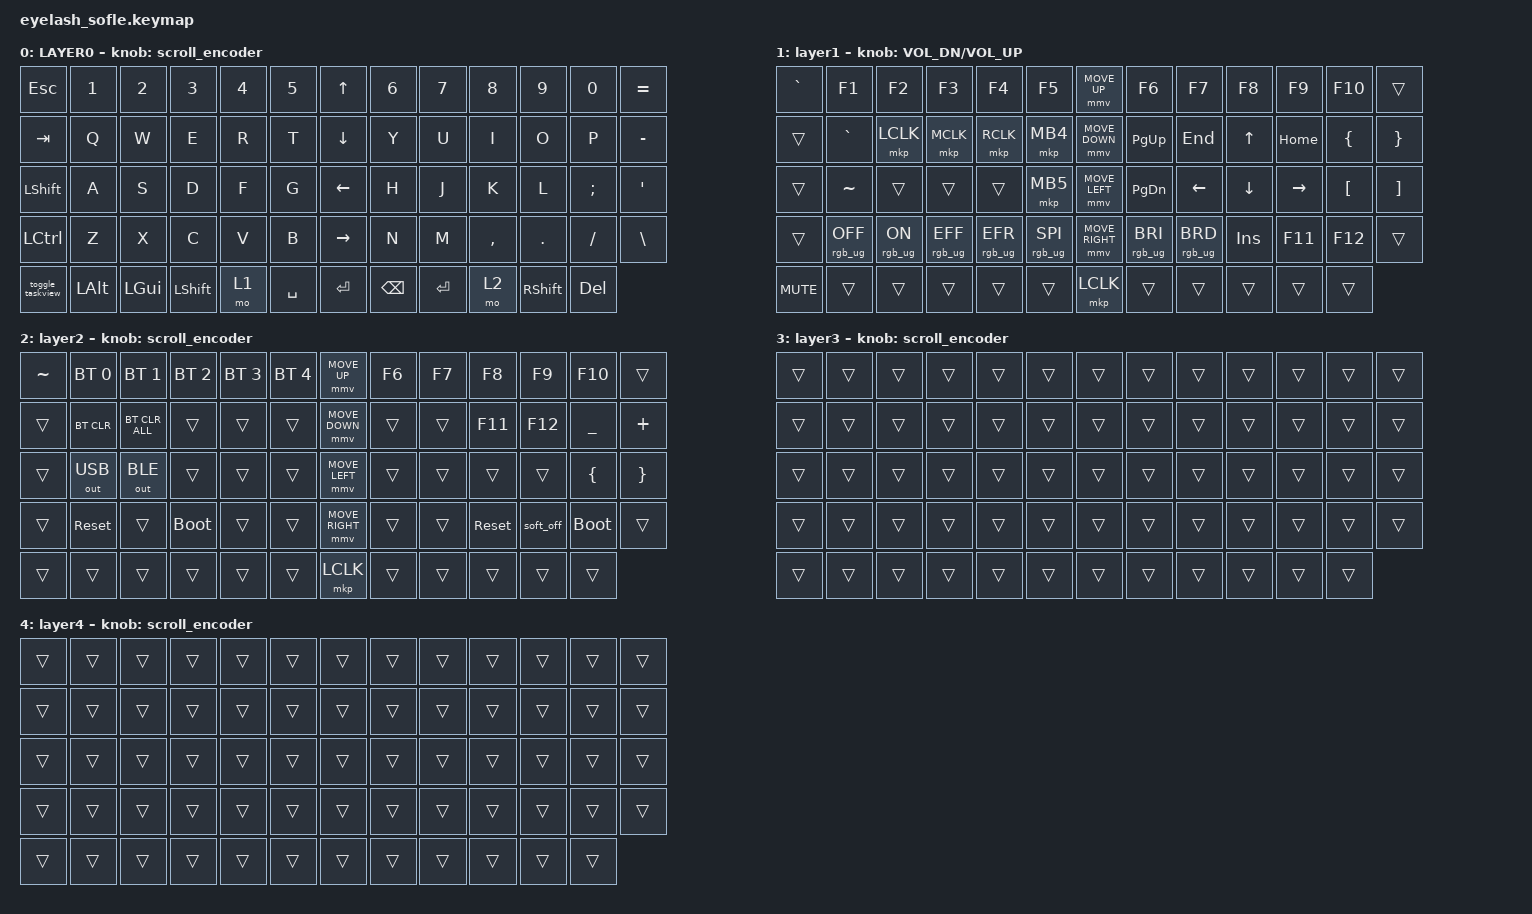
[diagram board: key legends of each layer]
#define ZMK_POINTING_DEFAULT_MOVE_VAL 1200  // 600
#define ZMK_POINTING_DEFAULT_SCRL_VAL 25   // 10

#include <input/processors.dtsi>
#include <zephyr/dt-bindings/input/input-event-codes.h>
#include <behaviors.dtsi>
#include <dt-bindings/zmk/bt.h>
#include <dt-bindings/zmk/keys.h>
#include <dt-bindings/zmk/outputs.h>
#include <dt-bindings/zmk/pointing.h>
#include <dt-bindings/zmk/rgb.h>

&mmv_input_listener { input-processors = <&zip_xy_scaler 2 1>; };

&msc_input_listener { input-processors = <&zip_scroll_scaler 2 1>; };

&msc {
    acceleration-exponent = <1>;      // 0
    time-to-max-speed-ms = <100>;       // 300
    delay-ms = <0>;                   // 0
};

&mmv {
    time-to-max-speed-ms = <500>;
    acceleration-exponent = <1>;
    trigger-period-ms = <16>;
};

&soft_off { hold-time-ms = <2000>; };

/ {
    behaviors {
        scroll_encoder: scroll_encoder {
            compatible = "zmk,behavior-sensor-rotate";
            #sensor-binding-cells = <0>;
            bindings = <&msc SCRL_DOWN>, <&msc SCRL_UP>;

            tap-ms = <100>;
        };

        toggle_taskview: toggle_taskview {
            compatible = "zmk,behavior-macro";
            label = "Taskview";
            #binding-cells = <0>;
            bindings =
                <&macro_press>,
                <&kp LGUI>,
                <&macro_tap>,
                <&kp TAB>,
                <&macro_release>,
                <&kp LGUI>;
        };
    };

    combos {
        compatible = "zmk,combos";

        softoff {
            bindings = <&soft_off>;
            key-positions = <14 28 40>;
        };

        caps {
            bindings = <&kp CAPS>;
            key-positions = <14 13>;
        };

        delete {
            bindings = <&kp DELETE>;
            key-positions = <11 12>;
        };
    };

    macros {
    };

    keymap {
        compatible = "zmk,keymap";

        layer0 {
            bindings = <
&kp ESC           &kp N1        &kp N2        &kp N3          &kp N4  &kp N5       &kp UP_ARROW     &kp N6         &kp N7     &kp N8     &kp N9           &kp N0      &kp EQUAL
&kp TAB           &kp Q         &kp W         &kp E           &kp R   &kp T        &kp DOWN_ARROW   &kp Y          &kp U      &kp I      &kp O            &kp P       &kp MINUS
&kp LSHIFT        &kp A         &kp S         &kp D           &kp F   &kp G        &kp LEFT_ARROW   &kp H          &kp J      &kp K      &kp L            &kp SEMI    &kp SQT
&kp LCTRL         &kp Z         &kp X         &kp C           &kp V   &kp B        &kp RIGHT_ARROW  &kp N          &kp M      &kp COMMA  &kp DOT          &kp FSLH    &kp BACKSLASH
&toggle_taskview  &kp LEFT_ALT  &kp LEFT_GUI  &kp LEFT_SHIFT  &mo 1   &kp SPACE    &kp ENTER        &kp BACKSPACE  &kp ENTER  &mo 2      &kp RIGHT_SHIFT  &kp DELETE
            >;

            sensor-bindings = <&scroll_encoder>;
            display-name = "LAYER0";
        };

        layer_1 {
            bindings = <
&kp GRAVE   &kp F1           &kp F2          &kp F3           &kp F4           &kp F5             &mmv MOVE_UP     &kp F6           &kp F7           &kp F8      &kp F9     &kp F10           &trans
&trans      &kp GRAVE        &mkp LCLK       &mkp MCLK        &mkp RCLK        &mkp MB4           &mmv MOVE_DOWN   &kp PG_UP        &kp END          &kp UP      &kp HOME   &kp LEFT_BRACE    &kp RIGHT_BRACE
&trans      &kp TILDE        &trans          &trans           &trans           &mkp MB5           &mmv MOVE_LEFT   &kp PG_DN        &kp LEFT         &kp DOWN    &kp RIGHT  &kp LEFT_BRACKET  &kp RIGHT_BRACKET
&trans      &rgb_ug RGB_OFF  &rgb_ug RGB_ON  &rgb_ug RGB_EFF  &rgb_ug RGB_EFR  &rgb_ug RGB_SPI    &mmv MOVE_RIGHT  &rgb_ug RGB_BRI  &rgb_ug RGB_BRD  &kp INSERT  &kp F11    &kp F12           &trans
&kp C_MUTE  &trans           &trans          &trans           &trans           &trans             &mkp LCLK        &trans           &trans           &trans      &trans     &trans
            >;

            display-name = "layer1";
            sensor-bindings = <&inc_dec_kp C_VOL_DN C_VOL_UP>;
        };

        layer_2 {
            bindings = <
&kp TILDE  &bt BT_SEL 0  &bt BT_SEL 1    &bt BT_SEL 2  &bt BT_SEL 3  &bt BT_SEL 4    &mmv MOVE_UP     &kp F6  &kp F7  &kp F8      &kp F9     &kp F10      &trans
&trans     &bt BT_CLR    &bt BT_CLR_ALL  &trans        &trans        &trans          &mmv MOVE_DOWN   &trans  &trans  &kp F11     &kp F12    &kp UNDER    &kp PLUS
&trans     &out OUT_USB  &out OUT_BLE    &trans        &trans        &trans          &mmv MOVE_LEFT   &trans  &trans  &trans      &trans     &kp LBRC     &kp RBRC
&trans     &sys_reset    &trans          &bootloader   &trans        &trans          &mmv MOVE_RIGHT  &trans  &trans  &sys_reset  &soft_off  &bootloader  &trans
&trans     &trans        &trans          &trans        &trans        &trans          &mkp LCLK        &trans  &trans  &trans      &trans     &trans
            >;

            display-name = "layer2";
            sensor-bindings = <&scroll_encoder>;
        };

        layer_3 {
            bindings = <
&trans  &trans  &trans  &trans  &trans  &trans    &trans  &trans  &trans  &trans  &trans  &trans  &trans
&trans  &trans  &trans  &trans  &trans  &trans    &trans  &trans  &trans  &trans  &trans  &trans  &trans
&trans  &trans  &trans  &trans  &trans  &trans    &trans  &trans  &trans  &trans  &trans  &trans  &trans
&trans  &trans  &trans  &trans  &trans  &trans    &trans  &trans  &trans  &trans  &trans  &trans  &trans
&trans  &trans  &trans  &trans  &trans  &trans    &trans  &trans  &trans  &trans  &trans  &trans
            >;

            display-name = "layer3";
            sensor-bindings = <&scroll_encoder>;
        };

        layer_4 {
            bindings = <
&trans  &trans  &trans  &trans  &trans  &trans    &trans  &trans  &trans  &trans  &trans  &trans  &trans
&trans  &trans  &trans  &trans  &trans  &trans    &trans  &trans  &trans  &trans  &trans  &trans  &trans
&trans  &trans  &trans  &trans  &trans  &trans    &trans  &trans  &trans  &trans  &trans  &trans  &trans
&trans  &trans  &trans  &trans  &trans  &trans    &trans  &trans  &trans  &trans  &trans  &trans  &trans
&trans  &trans  &trans  &trans  &trans  &trans    &trans  &trans  &trans  &trans  &trans  &trans
            >;

            display-name = "layer4";
            sensor-bindings = <&scroll_encoder>;
        };
    };
};
